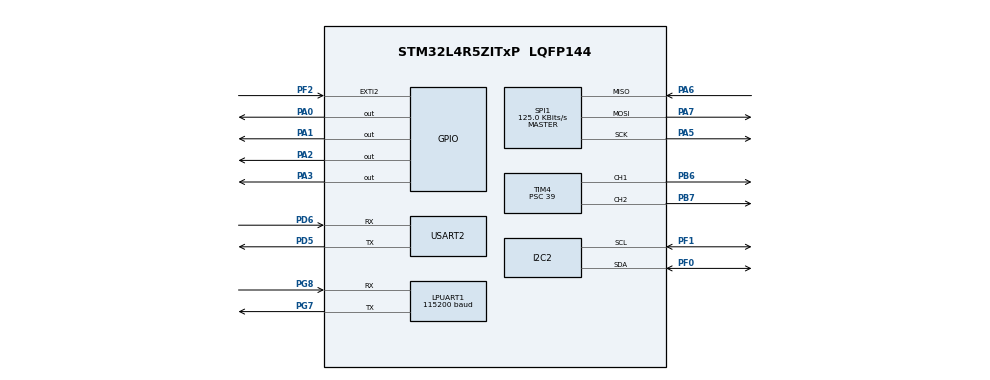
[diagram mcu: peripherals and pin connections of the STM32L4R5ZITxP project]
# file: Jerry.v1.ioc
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I2C2.Timing=0x00100D14
LPUART1.BaudRate=115200
LPUART1.WordLength=UART_WORDLENGTH_8B
Mcu.Family=STM32L4
Mcu.Name=STM32L4R5ZITxP
Mcu.Package=LQFP144
NVIC.EXTI2_IRQn=true\:0\:0\:false\:false\:true\:true\:true\:true
NVIC.PriorityGroup=NVIC_PRIORITYGROUP_4
NVIC.USART2_IRQn=true\:1\:0\:true\:false\:true\:true\:true\:true
PA0.Signal=GPIO_Output
PA1.Signal=GPIO_Output
PA10.Signal=USB_OTG_FS_ID
PA13\ (JTMS/SWDIO).Signal=SYS_JTMS-SWDIO
PA14\ (JTCK/SWCLK).Signal=SYS_JTCK-SWCLK
PA2.Signal=GPIO_Output
PA3.Signal=GPIO_Output
PA4.Signal=SPI1_NSS
PA5.Mode=Full_Duplex_Master
PA5.Signal=SPI1_SCK
PA6.Mode=Full_Duplex_Master
PA6.Signal=SPI1_MISO
PA7.Mode=Full_Duplex_Master
PA7.Signal=SPI1_MOSI
PA8.Signal=USB_OTG_FS_SOF
PA9.Signal=USB_OTG_FS_VBUS
PB0.Signal=S_TIM3_CH3
PB1.Signal=ADCx_IN16
PB10.Signal=S_TIM2_CH3
PB12.Signal=SAI2_FS_A
PB13.Signal=SAI2_SCK_A
PB14.Signal=S_TIM15_CH1
PB15.Signal=SAI2_SD_A
PB2.Signal=COMP1_INP
PB3\ (JTDO/TRACESWO).Signal=SPI3_SCK
PB4\ (NJTRST).Signal=SPI3_MISO
PB5.Signal=SPI3_MOSI
PB6.Signal=S_TIM4_CH1
PB7.Signal=S_TIM4_CH2
PB8.Signal=I2C1_SCL
PB9.Signal=I2C1_SDA
PC0.Signal=ADCx_IN1
PC1.Signal=ADCx_IN2
PC10.Signal=SDMMC1_D2
PC11.Signal=SDMMC1_D3
PC12.Signal=SDMMC1_CK
PC13.Signal=SYS_WKUP2
PC14-OSC32_IN\ (PC14).Signal=RCC_OSC32_IN
PC15-OSC32_OUT\ (PC15).Signal=RCC_OSC32_OUT
PC2.Signal=ADCx_IN3
PC3.Signal=ADCx_IN4
PC4.Signal=ADCx_IN13
PC5.Signal=ADCx_IN14
PC6.Signal=SAI2_MCLK_A
PC7.Signal=S_TIM3_CH2
PC8.Signal=SDMMC1_D0
PC9.Signal=SDMMC1_D1
PD0.Signal=CAN1_RX
PD14.Signal=S_TIM4_CH3
PD15.Signal=S_TIM4_CH4
PD2.Signal=SDMMC1_CMD
PD3.Signal=USART2_CTS
PD4.Signal=USART2_RTS
PD5.Mode=Asynchronous
PD5.Signal=USART2_TX
PD6.Mode=Asynchronous
PD6.Signal=USART2_RX
PD8.Signal=USART3_TX
PD9.Signal=USART3_RX
PE0.Signal=S_TIM4_ETR
PE10.Signal=TIM1_CH2N
PE11.Signal=S_TIM1_CH2
PE12.Signal=TIM1_CH3N
PE13.Signal=S_TIM1_CH3
PE14.Signal=TIM1_BKIN2
PE15.Signal=TIM1_BKIN
PE2.Signal=SAI1_MCLK_A
PE3.Signal=SAI1_SD_B
PE7.Signal=S_TIM1_ETR
PE8.Signal=TIM1_CH1N
PE9.Signal=S_TIM1_CH1
PF0.Mode=I2C
PF0.Signal=I2C2_SDA
PF1.Mode=I2C
PF1.Signal=I2C2_SCL
PF2.GPIO_ModeDefaultEXTI=GPIO_MODE_IT_FALLING
PF2.Signal=GPXTI2
PF7.Signal=SAI1_MCLK_B
PG7.Mode=Asynchronous
PG7.Signal=LPUART1_TX
PG8.Mode=Asynchronous
PG8.Signal=LPUART1_RX
PH0-OSC_IN\ (PH0).Signal=RCC_OSC_IN
PH1-OSC_OUT\ (PH1).Signal=RCC_OSC_OUT
ProjectManager.HeapSize=0x200
ProjectManager.StackSize=0x400
ProjectManager.TargetToolchain=STM32CubeIDE
RCC.HSE_VALUE=8000000
RCC.HSI48_VALUE=48000000
RCC.HSI_VALUE=16000000
RCC.LSE_VALUE=32768
RCC.MSI_VALUE=4000000
RCC.VCOOutputFreq_Value=32000000
SH.ADCx_IN1.0=ADC1_IN1
SH.ADCx_IN13.0=ADC1_IN13
SH.ADCx_IN14.0=ADC1_IN14
SH.ADCx_IN16.0=ADC1_IN16
SH.ADCx_IN2.0=ADC1_IN2
SH.ADCx_IN3.0=ADC1_IN3
SH.ADCx_IN4.0=ADC1_IN4
SH.S_TIM15_CH1.0=TIM15_CH1
SH.S_TIM1_CH1.0=TIM1_CH1
SH.S_TIM1_CH2.0=TIM1_CH2
SH.S_TIM1_CH3.0=TIM1_CH3
SH.S_TIM1_ETR.0=TIM1_ETR
SH.S_TIM2_CH3.0=TIM2_CH3
SH.S_TIM3_CH2.0=TIM3_CH2
SH.S_TIM3_CH3.0=TIM3_CH3
SH.S_TIM4_CH1.0=TIM4_CH1,PWM Generation1 CH1
SH.S_TIM4_CH2.0=TIM4_CH2,PWM Generation2 CH2
SH.S_TIM4_CH3.0=TIM4_CH3
SH.S_TIM4_CH4.0=TIM4_CH4
SH.S_TIM4_ETR.0=TIM4_ETR
SPI1.BaudRatePrescaler=SPI_BAUDRATEPRESCALER_32
SPI1.CalculateBaudRate=125.0 KBits/s
SPI1.DataSize=SPI_DATASIZE_8BIT
SPI1.Direction=SPI_DIRECTION_2LINES
SPI1.Mode=SPI_MODE_MASTER
SPI1.VirtualType=VM_MASTER
TIM4.Channel-PWM\ Generation1\ CH1=TIM_CHANNEL_1
TIM4.Channel-PWM\ Generation2\ CH2=TIM_CHANNEL_2
TIM4.Period=1999
TIM4.Prescaler=39
USART2.VirtualMode-Asynchronous=VM_ASYNC
board=NUCLEO-L4R5ZI-P

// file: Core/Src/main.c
/* USER CODE BEGIN Header */
/**
  ******************************************************************************
  * @file           : main.c
  * @brief          : Main program body
  ******************************************************************************
  * @attention
  *
  * Copyright (c) 2026 STMicroelectronics.
  * All rights reserved.
  *
  * This software is licensed under terms that can be found in the LICENSE file
  * in the root directory of this software component.
  * If no LICENSE file comes with this software, it is provided AS-IS.
  *
  ******************************************************************************
  */
/* USER CODE END Header */
#include "main.h"

/* USER CODE BEGIN Includes */
#include "main.h"
#include "motors.h"
#include "lidar.h"
#include "led.h"
#include "vl53l0x_api.h"
#include "stm32l4xx_hal.h"
#include "stdio.h" //putty communciation
#include "jerry.h"
#include "xbee.h"
/* USER CODE END Includes */

I2C_HandleTypeDef hi2c2;

UART_HandleTypeDef hlpuart1;
UART_HandleTypeDef huart2;

SPI_HandleTypeDef hspi1;

TIM_HandleTypeDef htim4;

/* USER CODE BEGIN PV */
extern UART_HandleTypeDef hlpuart1;
/* USER CODE END PV */

void SystemClock_Config(void);
static void MX_GPIO_Init(void);
static void MX_TIM4_Init(void);
static void MX_I2C2_Init(void);
static void MX_LPUART1_UART_Init(void);
static void MX_SPI1_Init(void);
static void MX_USART2_UART_Init(void);

int main(void)
{

  /* MCU Configuration--------------------------------------------------------*/

  /* Reset of all peripherals, Initializes the Flash interface and the Systick. */
  HAL_Init();

  /* Configure the system clock */
  SystemClock_Config();

  /* Initialize all configured peripherals */
  MX_GPIO_Init();
  MX_TIM4_Init();
  MX_I2C2_Init();
  MX_LPUART1_UART_Init();
  MX_SPI1_Init();
  MX_USART2_UART_Init();
  /* USER CODE BEGIN 2 */
//  HAL_Delay(100);

  Lidar_Init(&hi2c2);
  Motor_Init();
  Jerry_Init();
  XBee_Init(&huart2);
  XBee_StartRecv();
  /* USER CODE END 2 */

  /* Infinite loop */
  /* USER CODE BEGIN WHILE */
  while (1)
  {
//	  static uint32_t last_print=0;
	  	  Lidar_Process();
	  	if (XBee_CmdReceived()) {
	  	    uint8_t c = XBee_GetCommand();
	  	    XBee_ClearCmd();
	  		Jerry_Command((char)c);
	  		  }
	  	 	 Jerry_Update();

    /* USER CODE END WHILE */
  }
  }

void SystemClock_Config(void)
{
  RCC_OscInitTypeDef RCC_OscInitStruct = {0};
  RCC_ClkInitTypeDef RCC_ClkInitStruct = {0};

  /** Configure the main internal regulator output voltage
  */
  if (HAL_PWREx_ControlVoltageScaling(PWR_REGULATOR_VOLTAGE_SCALE1) != HAL_OK)
  {
    Error_Handler();
  }

  /** Initializes the RCC Oscillators according to the specified parameters
  * in the RCC_OscInitTypeDef structure.
  */
  RCC_OscInitStruct.OscillatorType = RCC_OSCILLATORTYPE_MSI;
  RCC_OscInitStruct.MSIState = RCC_MSI_ON;
  RCC_OscInitStruct.MSICalibrationValue = 0;
  RCC_OscInitStruct.MSIClockRange = RCC_MSIRANGE_6;
  RCC_OscInitStruct.PLL.PLLState = RCC_PLL_NONE;
  if (HAL_RCC_OscConfig(&RCC_OscInitStruct) != HAL_OK)
  {
    Error_Handler();
  }

  /** Initializes the CPU, AHB and APB buses clocks
  */
  RCC_ClkInitStruct.ClockType = RCC_CLOCKTYPE_HCLK|RCC_CLOCKTYPE_SYSCLK
                              |RCC_CLOCKTYPE_PCLK1|RCC_CLOCKTYPE_PCLK2;
  RCC_ClkInitStruct.SYSCLKSource = RCC_SYSCLKSOURCE_MSI;
  RCC_ClkInitStruct.AHBCLKDivider = RCC_SYSCLK_DIV1;
  RCC_ClkInitStruct.APB1CLKDivider = RCC_HCLK_DIV1;
  RCC_ClkInitStruct.APB2CLKDivider = RCC_HCLK_DIV1;

  if (HAL_RCC_ClockConfig(&RCC_ClkInitStruct, FLASH_LATENCY_0) != HAL_OK)
  {
    Error_Handler();
  }
}

static void MX_I2C2_Init(void)
{

  hi2c2.Instance = I2C2;
  hi2c2.Init.Timing = 0x00100D14;
  hi2c2.Init.OwnAddress1 = 0;
  hi2c2.Init.AddressingMode = I2C_ADDRESSINGMODE_7BIT;
  hi2c2.Init.DualAddressMode = I2C_DUALADDRESS_DISABLE;
  hi2c2.Init.OwnAddress2 = 0;
  hi2c2.Init.OwnAddress2Masks = I2C_OA2_NOMASK;
  hi2c2.Init.GeneralCallMode = I2C_GENERALCALL_DISABLE;
  hi2c2.Init.NoStretchMode = I2C_NOSTRETCH_DISABLE;
  if (HAL_I2C_Init(&hi2c2) != HAL_OK)
  {
    Error_Handler();
  }

  /** Configure Analogue filter
  */
  if (HAL_I2CEx_ConfigAnalogFilter(&hi2c2, I2C_ANALOGFILTER_ENABLE) != HAL_OK)
  {
    Error_Handler();
  }

  /** Configure Digital filter
  */
  if (HAL_I2CEx_ConfigDigitalFilter(&hi2c2, 0) != HAL_OK)
  {
    Error_Handler();
  }

}

static void MX_LPUART1_UART_Init(void)
{

  hlpuart1.Instance = LPUART1;
  hlpuart1.Init.BaudRate = 115200;
  hlpuart1.Init.WordLength = UART_WORDLENGTH_8B;
  hlpuart1.Init.StopBits = UART_STOPBITS_1;
  hlpuart1.Init.Parity = UART_PARITY_NONE;
  hlpuart1.Init.Mode = UART_MODE_TX_RX;
  hlpuart1.Init.HwFlowCtl = UART_HWCONTROL_NONE;
  hlpuart1.Init.OneBitSampling = UART_ONE_BIT_SAMPLE_DISABLE;
  hlpuart1.Init.ClockPrescaler = UART_PRESCALER_DIV1;
  hlpuart1.AdvancedInit.AdvFeatureInit = UART_ADVFEATURE_NO_INIT;
  hlpuart1.FifoMode = UART_FIFOMODE_DISABLE;
  if (HAL_UART_Init(&hlpuart1) != HAL_OK)
  {
    Error_Handler();
  }
  if (HAL_UARTEx_SetTxFifoThreshold(&hlpuart1, UART_TXFIFO_THRESHOLD_1_8) != HAL_OK)
  {
    Error_Handler();
  }
  if (HAL_UARTEx_SetRxFifoThreshold(&hlpuart1, UART_RXFIFO_THRESHOLD_1_8) != HAL_OK)
  {
    Error_Handler();
  }
  if (HAL_UARTEx_DisableFifoMode(&hlpuart1) != HAL_OK)
  {
    Error_Handler();
  }

}

static void MX_USART2_UART_Init(void)
{

  huart2.Instance = USART2;
  huart2.Init.BaudRate = 115200;
  huart2.Init.WordLength = UART_WORDLENGTH_8B;
  huart2.Init.StopBits = UART_STOPBITS_1;
  huart2.Init.Parity = UART_PARITY_NONE;
  huart2.Init.Mode = UART_MODE_TX_RX;
  huart2.Init.HwFlowCtl = UART_HWCONTROL_NONE;
  huart2.Init.OverSampling = UART_OVERSAMPLING_16;
  huart2.Init.OneBitSampling = UART_ONE_BIT_SAMPLE_DISABLE;
  huart2.Init.ClockPrescaler = UART_PRESCALER_DIV1;
  huart2.AdvancedInit.AdvFeatureInit = UART_ADVFEATURE_NO_INIT;
  if (HAL_UART_Init(&huart2) != HAL_OK)
  {
    Error_Handler();
  }
  if (HAL_UARTEx_SetTxFifoThreshold(&huart2, UART_TXFIFO_THRESHOLD_1_8) != HAL_OK)
  {
    Error_Handler();
  }
  if (HAL_UARTEx_SetRxFifoThreshold(&huart2, UART_RXFIFO_THRESHOLD_1_8) != HAL_OK)
  {
    Error_Handler();
  }
  if (HAL_UARTEx_DisableFifoMode(&huart2) != HAL_OK)
  {
    Error_Handler();
  }

}

static void MX_SPI1_Init(void)
{

  /* SPI1 parameter configuration*/
  hspi1.Instance = SPI1;
  hspi1.Init.Mode = SPI_MODE_MASTER;
  hspi1.Init.Direction = SPI_DIRECTION_2LINES;
  hspi1.Init.DataSize = SPI_DATASIZE_8BIT;
  hspi1.Init.CLKPolarity = SPI_POLARITY_LOW;
  hspi1.Init.CLKPhase = SPI_PHASE_1EDGE;
  hspi1.Init.NSS = SPI_NSS_SOFT;
  hspi1.Init.BaudRatePrescaler = SPI_BAUDRATEPRESCALER_32;
  hspi1.Init.FirstBit = SPI_FIRSTBIT_MSB;
  hspi1.Init.TIMode = SPI_TIMODE_DISABLE;
  hspi1.Init.CRCCalculation = SPI_CRCCALCULATION_DISABLE;
  hspi1.Init.CRCPolynomial = 7;
  hspi1.Init.CRCLength = SPI_CRC_LENGTH_DATASIZE;
  hspi1.Init.NSSPMode = SPI_NSS_PULSE_ENABLE;
  if (HAL_SPI_Init(&hspi1) != HAL_OK)
  {
    Error_Handler();
  }

}

static void MX_TIM4_Init(void)
{

  TIM_MasterConfigTypeDef sMasterConfig = {0};
  TIM_OC_InitTypeDef sConfigOC = {0};

  htim4.Instance = TIM4;
  htim4.Init.Prescaler = 39;
  htim4.Init.CounterMode = TIM_COUNTERMODE_UP;
  htim4.Init.Period = 1999;
  htim4.Init.ClockDivision = TIM_CLOCKDIVISION_DIV1;
  htim4.Init.AutoReloadPreload = TIM_AUTORELOAD_PRELOAD_DISABLE;
  if (HAL_TIM_PWM_Init(&htim4) != HAL_OK)
  {
    Error_Handler();
  }
  sMasterConfig.MasterOutputTrigger = TIM_TRGO_RESET;
  sMasterConfig.MasterSlaveMode = TIM_MASTERSLAVEMODE_DISABLE;
  if (HAL_TIMEx_MasterConfigSynchronization(&htim4, &sMasterConfig) != HAL_OK)
  {
    Error_Handler();
  }
  sConfigOC.OCMode = TIM_OCMODE_PWM1;
  sConfigOC.Pulse = 0;
  sConfigOC.OCPolarity = TIM_OCPOLARITY_HIGH;
  sConfigOC.OCFastMode = TIM_OCFAST_DISABLE;
  if (HAL_TIM_PWM_ConfigChannel(&htim4, &sConfigOC, TIM_CHANNEL_1) != HAL_OK)
  {
    Error_Handler();
  }
  if (HAL_TIM_PWM_ConfigChannel(&htim4, &sConfigOC, TIM_CHANNEL_2) != HAL_OK)
  {
    Error_Handler();
  }
  HAL_TIM_MspPostInit(&htim4);

}

static void MX_GPIO_Init(void)
{
  GPIO_InitTypeDef GPIO_InitStruct = {0};

  /* GPIO Ports Clock Enable */
  __HAL_RCC_GPIOE_CLK_ENABLE();
  __HAL_RCC_GPIOC_CLK_ENABLE();
  __HAL_RCC_GPIOF_CLK_ENABLE();
  __HAL_RCC_GPIOH_CLK_ENABLE();
  __HAL_RCC_GPIOA_CLK_ENABLE();
  __HAL_RCC_GPIOB_CLK_ENABLE();
  __HAL_RCC_GPIOD_CLK_ENABLE();
  __HAL_RCC_GPIOG_CLK_ENABLE();
  HAL_PWREx_EnableVddIO2();

  /*Configure GPIO pin Output Level */
  HAL_GPIO_WritePin(GPIOA, GPIO_PIN_0|GPIO_PIN_1|GPIO_PIN_2|GPIO_PIN_3, GPIO_PIN_RESET);

  /*Configure GPIO pins : PE2 PE3 */
  GPIO_InitStruct.Pin = GPIO_PIN_2|GPIO_PIN_3;
  GPIO_InitStruct.Mode = GPIO_MODE_AF_PP;
  GPIO_InitStruct.Pull = GPIO_NOPULL;
  GPIO_InitStruct.Speed = GPIO_SPEED_FREQ_LOW;
  GPIO_InitStruct.Alternate = GPIO_AF13_SAI1;
  HAL_GPIO_Init(GPIOE, &GPIO_InitStruct);

  /*Configure GPIO pin : PF2 */
  GPIO_InitStruct.Pin = GPIO_PIN_2;
  GPIO_InitStruct.Mode = GPIO_MODE_IT_FALLING;
  GPIO_InitStruct.Pull = GPIO_NOPULL;
  HAL_GPIO_Init(GPIOF, &GPIO_InitStruct);

  /*Configure GPIO pin : PF7 */
  GPIO_InitStruct.Pin = GPIO_PIN_7;
  GPIO_InitStruct.Mode = GPIO_MODE_AF_PP;
  GPIO_InitStruct.Pull = GPIO_NOPULL;
  GPIO_InitStruct.Speed = GPIO_SPEED_FREQ_LOW;
  GPIO_InitStruct.Alternate = GPIO_AF13_SAI1;
  HAL_GPIO_Init(GPIOF, &GPIO_InitStruct);

  /*Configure GPIO pins : PC0 PC1 PC2 PC3
                           PC4 PC5 */
  GPIO_InitStruct.Pin = GPIO_PIN_0|GPIO_PIN_1|GPIO_PIN_2|GPIO_PIN_3
                          |GPIO_PIN_4|GPIO_PIN_5;
  GPIO_InitStruct.Mode = GPIO_MODE_ANALOG_ADC_CONTROL;
  GPIO_InitStruct.Pull = GPIO_NOPULL;
  HAL_GPIO_Init(GPIOC, &GPIO_InitStruct);

  /*Configure GPIO pins : PA0 PA1 PA2 PA3 */
  GPIO_InitStruct.Pin = GPIO_PIN_0|GPIO_PIN_1|GPIO_PIN_2|GPIO_PIN_3;
  GPIO_InitStruct.Mode = GPIO_MODE_OUTPUT_PP;
  GPIO_InitStruct.Pull = GPIO_NOPULL;
  GPIO_InitStruct.Speed = GPIO_SPEED_FREQ_LOW;
  HAL_GPIO_Init(GPIOA, &GPIO_InitStruct);

  /*Configure GPIO pin : PB0 */
  GPIO_InitStruct.Pin = GPIO_PIN_0;
  GPIO_InitStruct.Mode = GPIO_MODE_AF_PP;
  GPIO_InitStruct.Pull = GPIO_NOPULL;
  GPIO_InitStruct.Speed = GPIO_SPEED_FREQ_LOW;
  GPIO_InitStruct.Alternate = GPIO_AF2_TIM3;
  HAL_GPIO_Init(GPIOB, &GPIO_InitStruct);

  /*Configure GPIO pin : PB1 */
  GPIO_InitStruct.Pin = GPIO_PIN_1;
  GPIO_InitStruct.Mode = GPIO_MODE_ANALOG_ADC_CONTROL;
  GPIO_InitStruct.Pull = GPIO_NOPULL;
  HAL_GPIO_Init(GPIOB, &GPIO_InitStruct);

  /*Configure GPIO pin : PB2 */
  GPIO_InitStruct.Pin = GPIO_PIN_2;
  GPIO_InitStruct.Mode = GPIO_MODE_ANALOG;
  GPIO_InitStruct.Pull = GPIO_NOPULL;
  HAL_GPIO_Init(GPIOB, &GPIO_InitStruct);

  /*Configure GPIO pins : PE7 PE8 PE9 PE10
                           PE11 PE12 PE13 */
  GPIO_InitStruct.Pin = GPIO_PIN_7|GPIO_PIN_8|GPIO_PIN_9|GPIO_PIN_10
                          |GPIO_PIN_11|GPIO_PIN_12|GPIO_PIN_13;
  GPIO_InitStruct.Mode = GPIO_MODE_AF_PP;
  GPIO_InitStruct.Pull = GPIO_NOPULL;
  GPIO_InitStruct.Speed = GPIO_SPEED_FREQ_LOW;
  GPIO_InitStruct.Alternate = GPIO_AF1_TIM1;
  HAL_GPIO_Init(GPIOE, &GPIO_InitStruct);

  /*Configure GPIO pins : PE14 PE15 */
  GPIO_InitStruct.Pin = GPIO_PIN_14|GPIO_PIN_15;
  GPIO_InitStruct.Mode = GPIO_MODE_AF_PP;
  GPIO_InitStruct.Pull = GPIO_NOPULL;
  GPIO_InitStruct.Speed = GPIO_SPEED_FREQ_LOW;
  GPIO_InitStruct.Alternate = GPIO_AF3_TIM1_COMP1;
  HAL_GPIO_Init(GPIOE, &GPIO_InitStruct);

  /*Configure GPIO pin : PB10 */
  GPIO_InitStruct.Pin = GPIO_PIN_10;
  GPIO_InitStruct.Mode = GPIO_MODE_AF_PP;
  GPIO_InitStruct.Pull = GPIO_NOPULL;
  GPIO_InitStruct.Speed = GPIO_SPEED_FREQ_LOW;
  GPIO_InitStruct.Alternate = GPIO_AF1_TIM2;
  HAL_GPIO_Init(GPIOB, &GPIO_InitStruct);

  /*Configure GPIO pins : PB12 PB13 PB15 */
  GPIO_InitStruct.Pin = GPIO_PIN_12|GPIO_PIN_13|GPIO_PIN_15;
  GPIO_InitStruct.Mode = GPIO_MODE_AF_PP;
  GPIO_InitStruct.Pull = GPIO_NOPULL;
  GPIO_InitStruct.Speed = GPIO_SPEED_FREQ_LOW;
  GPIO_InitStruct.Alternate = GPIO_AF13_SAI2;
  HAL_GPIO_Init(GPIOB, &GPIO_InitStruct);

  /*Configure GPIO pin : PB14 */
  GPIO_InitStruct.Pin = GPIO_PIN_14;
  GPIO_InitStruct.Mode = GPIO_MODE_AF_PP;
  GPIO_InitStruct.Pull = GPIO_NOPULL;
  GPIO_InitStruct.Speed = GPIO_SPEED_FREQ_LOW;
  GPIO_InitStruct.Alternate = GPIO_AF14_TIM15;
  HAL_GPIO_Init(GPIOB, &GPIO_InitStruct);

  /*Configure GPIO pins : PD8 PD9 */
  GPIO_InitStruct.Pin = GPIO_PIN_8|GPIO_PIN_9;
  GPIO_InitStruct.Mode = GPIO_MODE_AF_PP;
  GPIO_InitStruct.Pull = GPIO_NOPULL;
  GPIO_InitStruct.Speed = GPIO_SPEED_FREQ_VERY_HIGH;
  GPIO_InitStruct.Alternate = GPIO_AF7_USART3;
  HAL_GPIO_Init(GPIOD, &GPIO_InitStruct);

  /*Configure GPIO pin : PC6 */
  GPIO_InitStruct.Pin = GPIO_PIN_6;
  GPIO_InitStruct.Mode = GPIO_MODE_AF_PP;
  GPIO_InitStruct.Pull = GPIO_NOPULL;
  GPIO_InitStruct.Speed = GPIO_SPEED_FREQ_LOW;
  GPIO_InitStruct.Alternate = GPIO_AF13_SAI2;
  HAL_GPIO_Init(GPIOC, &GPIO_InitStruct);

  /*Configure GPIO pin : PC7 */
  GPIO_InitStruct.Pin = GPIO_PIN_7;
  GPIO_InitStruct.Mode = GPIO_MODE_AF_PP;
  GPIO_InitStruct.Pull = GPIO_NOPULL;
  GPIO_InitStruct.Speed = GPIO_SPEED_FREQ_LOW;
  GPIO_InitStruct.Alternate = GPIO_AF2_TIM3;
  HAL_GPIO_Init(GPIOC, &GPIO_InitStruct);

  /*Configure GPIO pins : PC8 PC9 PC10 PC11
                           PC12 */
  GPIO_InitStruct.Pin = GPIO_PIN_8|GPIO_PIN_9|GPIO_PIN_10|GPIO_PIN_11
                          |GPIO_PIN_12;
  GPIO_InitStruct.Mode = GPIO_MODE_AF_PP;
  GPIO_InitStruct.Pull = GPIO_NOPULL;
  GPIO_InitStruct.Speed = GPIO_SPEED_FREQ_VERY_HIGH;
  GPIO_InitStruct.Alternate = GPIO_AF12_SDMMC1;
  HAL_GPIO_Init(GPIOC, &GPIO_InitStruct);

  /*Configure GPIO pins : PA8 PA10 */
  GPIO_InitStruct.Pin = GPIO_PIN_8|GPIO_PIN_10;
  GPIO_InitStruct.Mode = GPIO_MODE_AF_PP;
  GPIO_InitStruct.Pull = GPIO_NOPULL;
  GPIO_InitStruct.Speed = GPIO_SPEED_FREQ_VERY_HIGH;
  GPIO_InitStruct.Alternate = GPIO_AF10_OTG_FS;
  HAL_GPIO_Init(GPIOA, &GPIO_InitStruct);

  /*Configure GPIO pin : PA9 */
  GPIO_InitStruct.Pin = GPIO_PIN_9;
  GPIO_InitStruct.Mode = GPIO_MODE_INPUT;
  GPIO_InitStruct.Pull = GPIO_NOPULL;
  HAL_GPIO_Init(GPIOA, &GPIO_InitStruct);

  /*Configure GPIO pin : PD0 */
  GPIO_InitStruct.Pin = GPIO_PIN_0;
  GPIO_InitStruct.Mode = GPIO_MODE_AF_PP;
  GPIO_InitStruct.Pull = GPIO_NOPULL;
  GPIO_InitStruct.Speed = GPIO_SPEED_FREQ_VERY_HIGH;
  GPIO_InitStruct.Alternate = GPIO_AF9_CAN1;
  HAL_GPIO_Init(GPIOD, &GPIO_InitStruct);

  /*Configure GPIO pin : PD2 */
  GPIO_InitStruct.Pin = GPIO_PIN_2;
  GPIO_InitStruct.Mode = GPIO_MODE_AF_PP;
  GPIO_InitStruct.Pull = GPIO_NOPULL;
  GPIO_InitStruct.Speed = GPIO_SPEED_FREQ_VERY_HIGH;
  GPIO_InitStruct.Alternate = GPIO_AF12_SDMMC1;
  HAL_GPIO_Init(GPIOD, &GPIO_InitStruct);

  /*Configure GPIO pins : PB3 PB4 PB5 */
  GPIO_InitStruct.Pin = GPIO_PIN_3|GPIO_PIN_4|GPIO_PIN_5;
  GPIO_InitStruct.Mode = GPIO_MODE_AF_PP;
  GPIO_InitStruct.Pull = GPIO_NOPULL;
  GPIO_InitStruct.Speed = GPIO_SPEED_FREQ_VERY_HIGH;
  GPIO_InitStruct.Alternate = GPIO_AF6_SPI3;
  HAL_GPIO_Init(GPIOB, &GPIO_InitStruct);

  /*Configure GPIO pins : PB8 PB9 */
  GPIO_InitStruct.Pin = GPIO_PIN_8|GPIO_PIN_9;
  GPIO_InitStruct.Mode = GPIO_MODE_AF_OD;
  GPIO_InitStruct.Pull = GPIO_NOPULL;
  GPIO_InitStruct.Speed = GPIO_SPEED_FREQ_VERY_HIGH;
  GPIO_InitStruct.Alternate = GPIO_AF4_I2C1;
  HAL_GPIO_Init(GPIOB, &GPIO_InitStruct);

  /* EXTI interrupt init*/
  HAL_NVIC_SetPriority(EXTI2_IRQn, 0, 0);
  HAL_NVIC_EnableIRQ(EXTI2_IRQn);

}

/* USER CODE BEGIN 4 */
#ifdef __GNUC__
#define PUTCHAR_PROTOTYPE int __io_putchar(int ch)
#else
  #define PUTCHAR_PROTOTYPE int fputc(int ch, FILE *f)
#endif /* __GNUC__ */
PUTCHAR_PROTOTYPE
{
  HAL_UART_Transmit(&hlpuart1, (uint8_t *)&ch, 1, 0xFFFF);
  return ch;
}

void HAL_GPIO_EXTI_Callback(uint16_t GPIO_Pin)
{
 if (GPIO_Pin == GPIO_PIN_2) // PF2
 {
//	 printf("EXTI fired\r\n");
	 Lidar_SetDataReady();

 }
}

void HAL_UART_RxCpltCallback(UART_HandleTypeDef *huart) {
    if (huart->Instance == USART2) {
        XBee_RXCallBack(huart);
    }
}

/* USER CODE END 4 */

void Error_Handler(void)
{
  __disable_irq();
  while (1)
  {
  }
}
